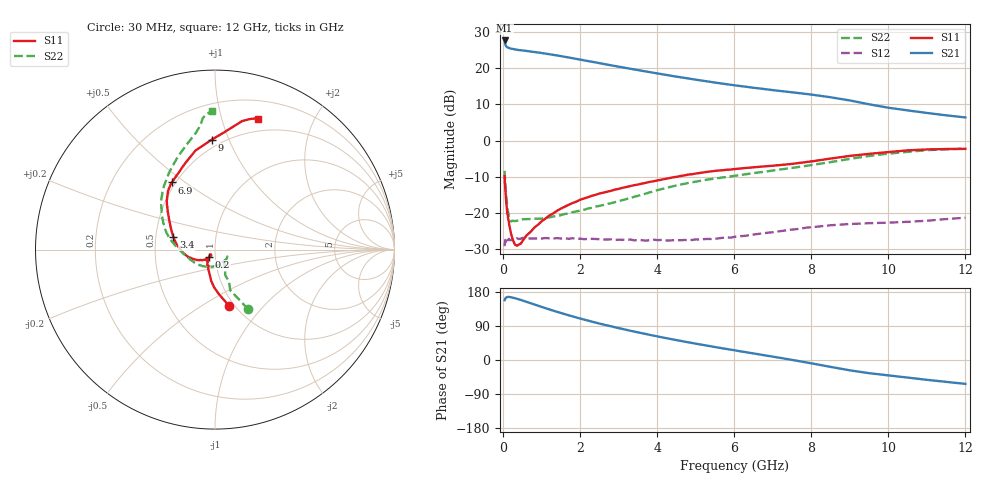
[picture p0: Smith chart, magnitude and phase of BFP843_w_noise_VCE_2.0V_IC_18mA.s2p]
! Infineon Technologies  Discrete & RF Semiconductors
! BFP843
! VCE =  2.0 V,  IC =  18 mA
! Common Emitter S-Parameters:  Aug 2013
# GHz  S  MA  R  50
!  f  S11  S21  S12  S22
! GHz  MAG  ANG  MAG  ANG  MAG  ANG  MAG  ANG
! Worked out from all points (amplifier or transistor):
!   103 points, 30 MHz to 12 GHz, reference 50 ohm
!   highest |S21| = 27.6 dB at 30 MHz (marker M1)
!   |S21| within 3 dB of that: start of sweep to 669.2 MHz
!   unconditionally stable (mu >= 1): 115.7 MHz to 10.78 GHz
!   at 400 MHz: K = 1.03, MAG = 25.1 dB, |S12| = -27.2 dB
!   at 3.7 GHz: K = 1.39, MAG = 19.6 dB, |S12| = -27.6 dB
!   at 12 GHz: K = 0.85, MSG = 13.8 dB, |S12| = -21.3 dB
!   lowest NFmin = 1.02 dB at 450 MHz
!   S11 on the Smith chart (normalised r, x): 30 MHz: 0.94, -0.66; 200 MHz: 0.93, -0.07; 3.4 GHz: 0.62, +0.09; 6.9 GHz: 0.48, +0.45; 9 GHz: 0.44, +0.87; 12 GHz: 0.37, +1.32
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0.03  0.3241 -75.9  24.04 157.9  0.0348 25.3  0.3816 -60.9
0.04  0.2486 -85.1  22.15 159.8  0.0393 22.1  0.295 -65.1
0.05  0.2095 -91.4  21.15 162.7  0.0425 14.8  0.2415 -69.5
0.07  0.1447 -101.4  19.95 164.7  0.0402 16.6  0.1756 -67.2
0.08  0.1267 -105.5  19.76 165.4  0.0432 12.7  0.1525 -68.3
0.13  0.0788 -120.7  19.08 166.7  0.043 6.0  0.0954 -57.3
0.2  0.0509 -130.3  18.49 165.6  0.0421 5.9  0.0765 -39.9
0.35  0.0353 -130.7  17.89 161.5  0.0448 3.8  0.0781 -29.2
0.8  0.0626 -127.8  16.67 146.6  0.0445 0.6  0.0834 -51.1
1.2  0.0929 -140.2  15.49 133.3  0.0446 -0.4  0.087 -76.3
1.6  0.1224 -153.1  14.29 120.8  0.0447 -1.0  0.097 -99.1
2.1  0.159 -166.7  12.77 106.5  0.0434 -1.7  0.1111 -123.6
2.7  0.1968 178.6  11.15 91.1  0.043 -2.0  0.133 -146.1
3.4  0.2419 163.3  9.566 75.0  0.0418 -1.0  0.1672 -168.4
4.1  0.288 150.3  8.254 60.2  0.0424 0.9  0.2129 176.1
5  0.3505 139.2  6.911 43.0  0.0432 4.2  0.2707 163.8
6.1  0.4079 130.4  5.694 23.9  0.0477 8.8  0.3306 151.2
6.9  0.4449 122.8  5.033 10.5  0.0537 9.5  0.3781 142.1
8.5  0.5635 101.0  3.952 -18.2  0.0676 2.5  0.5038 120.1
9  0.6131 91.6  3.571 -27.3  0.0704 -1.0  0.5581 111.7
10.5  0.7316 78.1  2.604 -46.4  0.0755 -7.9  0.6971 96.7
12  0.7666 71.7  2.081 -63.0  0.0859 -14.9  0.7715 91.1
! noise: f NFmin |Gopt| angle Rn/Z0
0.45  1.02  0.09  -173  0.03
0.9  1.03  0.1  -164  0.07
1.5  1.05  0.1  -156  0.14
1.9  1.06  0.1  -147  0.2
2.4  1.09  0.1  -134  0.26
3.5  1.13  0.09  -117  0.31
5.5  1.23  0.23  -112  0.38
10  1.81  0.51  -62  0.52
